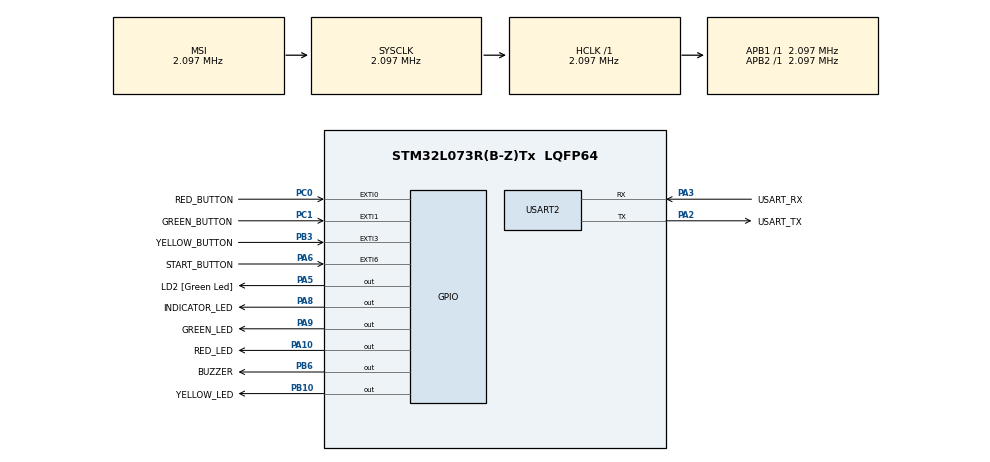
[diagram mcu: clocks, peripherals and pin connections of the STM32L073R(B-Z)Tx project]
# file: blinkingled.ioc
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Mcu.Family=STM32L0
Mcu.Name=STM32L073R(B-Z)Tx
Mcu.Package=LQFP64
NVIC.EXTI0_1_IRQn=true\:0\:0\:false\:false\:true\:true\:true\:true
NVIC.EXTI2_3_IRQn=true\:0\:0\:false\:false\:true\:true\:true\:true
NVIC.EXTI4_15_IRQn=true\:0\:0\:false\:false\:true\:true\:true\:true
PA10.GPIO_Label=RED_LED
PA10.Signal=GPIO_Output
PA13.GPIO_Label=TMS
PA13.Mode=Serial_Wire
PA13.Signal=SYS_SWDIO
PA14.GPIO_Label=TCK
PA14.Mode=Serial_Wire
PA14.Signal=SYS_SWCLK
PA2.GPIO_Label=USART_TX
PA2.Mode=Asynchronous
PA2.Signal=USART2_TX
PA3.GPIO_Label=USART_RX
PA3.Mode=Asynchronous
PA3.Signal=USART2_RX
PA5.GPIO_Label=LD2 [Green Led]
PA5.Signal=GPIO_Output
PA6.GPIO_Label=START_BUTTON
PA6.GPIO_ModeDefaultEXTI=GPIO_MODE_IT_FALLING
PA6.GPIO_PuPd=GPIO_PULLUP
PA6.Signal=GPXTI6
PA8.GPIO_Label=INDICATOR_LED
PA8.Signal=GPIO_Output
PA9.GPIO_Label=GREEN_LED
PA9.Signal=GPIO_Output
PB10.GPIO_Label=YELLOW_LED
PB10.Signal=GPIO_Output
PB3.GPIO_Label=YELLOW_BUTTON
PB3.GPIO_ModeDefaultEXTI=GPIO_MODE_IT_FALLING
PB3.GPIO_PuPd=GPIO_PULLUP
PB3.Signal=GPXTI3
PB6.GPIO_Label=BUZZER
PB6.PinState=GPIO_PIN_RESET
PB6.Signal=GPIO_Output
PC0.GPIO_Label=RED_BUTTON
PC0.GPIO_ModeDefaultEXTI=GPIO_MODE_IT_FALLING
PC0.GPIO_PuPd=GPIO_PULLUP
PC0.Signal=GPXTI0
PC1.GPIO_Label=GREEN_BUTTON
PC1.GPIO_ModeDefaultEXTI=GPIO_MODE_IT_FALLING
PC1.GPIO_PuPd=GPIO_PULLUP
PC1.Signal=GPXTI1
PC14-OSC32_IN.Mode=LSE-External-Oscillator
PC14-OSC32_IN.Signal=RCC_OSC32_IN
PC15-OSC32_OUT.Mode=LSE-External-Oscillator
PC15-OSC32_OUT.Signal=RCC_OSC32_OUT
PH0-OSC_IN.GPIO_Label=MCO
PH0-OSC_IN.Mode=HSE-External-Clock-Source
PH0-OSC_IN.Signal=RCC_OSC_IN
ProjectManager.HeapSize=0x200
ProjectManager.StackSize=0x400
ProjectManager.TargetToolchain=STM32CubeIDE
RCC.AHBFreq_Value=2097000
RCC.APB1Freq_Value=2097000
RCC.APB1TimFreq_Value=2097000
RCC.APB2Freq_Value=2097000
RCC.APB2TimFreq_Value=2097000
RCC.HSE_VALUE=8000000
RCC.HSI16_VALUE=16000000
RCC.HSI48_VALUE=48000000
RCC.HSI_VALUE=16000000
RCC.MSI_VALUE=2097000
RCC.SYSCLKFreq_VALUE=2097000
RCC.VCOOutputFreq_Value=48000000
USART2.VirtualMode-Asynchronous=VM_ASYNC
board=NUCLEO-L073RZ

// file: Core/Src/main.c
/* USER CODE BEGIN Header */
/**
  ******************************************************************************
  * @file           : main.c
  * @brief          : Main program body
  ******************************************************************************
  * @attention
  *
  * Copyright (c) 2025 STMicroelectronics.
  * All rights reserved.
  *
  * This software is licensed under terms that can be found in the LICENSE file
  * in the root directory of this software component.
  * If no LICENSE file comes with this software, it is provided AS-IS.
  *
  ******************************************************************************
  */
/* USER CODE END Header */
#include "main.h"

/* USER CODE BEGIN Includes */
#include <stdlib.h>
#include <stdbool.h>
/* USER CODE END Includes */

/* USER CODE BEGIN PTD */

typedef enum {
  STATE_IDLE,
  STATE_STARTUP,
  STATE_GENERATE_AND_DISPLAY_SEQUENCE,
  STATE_WAIT_FOR_PLAYER_INPUT,
  STATE_EVALUATE_SEQUENCE,
  STATE_SUCCESS_BLINK,
  STATE_FAILURE_BLINK
} GameState_t;
/* USER CODE END PTD */

/* USER CODE BEGIN PD */
#define SEQUENCE_LENGTH 4
#define DEBOUNCE_TIME_MS 200
#define LED_FEEDBACK_DURATION_MS 300
#define BUZZER_DURATION 200
/* USER CODE END PD */

UART_HandleTypeDef huart2;

/* USER CODE BEGIN PV */
// Global variables to manage the game state and logic
volatile GameState_t g_gameState = STATE_IDLE;
volatile bool g_gameRunning = false;

uint8_t g_generatedSequence[SEQUENCE_LENGTH];
uint8_t g_playerSequence[SEQUENCE_LENGTH];
volatile uint8_t g_currentPlayerInputIndex = 0;

volatile uint8_t g_ledFeedbackActive = 0; // 0 = no feedback, 1 = red LED, 2 = green LED, 3 = yellow LED
volatile uint32_t g_ledFeedbackStartTime = 0;
/* USER CODE END PV */

void SystemClock_Config(void);
static void MX_GPIO_Init(void);
static void MX_USART2_UART_Init(void);
/* USER CODE BEGIN PFP */
static void PrepareForNextInput(void);
static void EnableGameButtonInterrupts(void);
static void DisableGameButtonInterrupts(void);
static void EnableStartButtonInterrupt(void);
static void DisableStartButtonInterrupt(void);
static void BuzzerBeep(uint32_t duration);
static void DisplaySequence(uint8_t ledValue, uint32_t onDuration, uint32_t offDuration);
/* USER CODE END PFP */

/* USER CODE BEGIN 0 */
//EXTI0_1_IRQn handler for RED and GREEN buttons
//EXTI2_3_IRQn handler for YELLOW button
//EXTI4_15_IRQn handler for START button

static void EnableGameButtonInterrupts(void)
{
    __HAL_GPIO_EXTI_CLEAR_IT(RED_BUTTON_Pin);
    __HAL_GPIO_EXTI_CLEAR_IT(GREEN_BUTTON_Pin);
    __HAL_GPIO_EXTI_CLEAR_IT(YELLOW_BUTTON_Pin);
    HAL_NVIC_EnableIRQ(EXTI0_1_IRQn);
    HAL_NVIC_EnableIRQ(EXTI2_3_IRQn);
}

static void DisableGameButtonInterrupts(void)
{
    HAL_NVIC_DisableIRQ(EXTI0_1_IRQn);
    HAL_NVIC_DisableIRQ(EXTI2_3_IRQn);
}

static void EnableStartButtonInterrupt(void)
{
    __HAL_GPIO_EXTI_CLEAR_IT(START_BUTTON_Pin);
    HAL_NVIC_EnableIRQ(EXTI4_15_IRQn);
}

static void DisableStartButtonInterrupt(void)
{
    HAL_NVIC_DisableIRQ(EXTI4_15_IRQn);
}

static void PrepareForNextInput(void)
{
    if (g_currentPlayerInputIndex < SEQUENCE_LENGTH)
    {
        EnableGameButtonInterrupts();
    }
}

//Buzzer function to beep for a specified duration
static void BuzzerBeep(uint32_t duration)
{
	for (int i = 0; i < 5; i++)
	{
		HAL_GPIO_WritePin(BUZZER_GPIO_Port, BUZZER_Pin, GPIO_PIN_SET);
		HAL_Delay(duration);
		HAL_GPIO_WritePin(BUZZER_GPIO_Port, BUZZER_Pin, GPIO_PIN_RESET);
		HAL_Delay(duration);
	}
}

static void DisplaySequence(uint8_t ledValue, uint32_t onDuration, uint32_t offDuration)
{
  switch (ledValue)
  {
    case 0: //red led
      HAL_GPIO_WritePin(RED_LED_GPIO_Port, RED_LED_Pin, GPIO_PIN_SET);
      HAL_Delay(onDuration);
      HAL_GPIO_WritePin(RED_LED_GPIO_Port, RED_LED_Pin, GPIO_PIN_RESET);
      HAL_Delay(offDuration);
      break;
    case 1: //green led
      HAL_GPIO_WritePin(GREEN_LED_GPIO_Port, GREEN_LED_Pin, GPIO_PIN_SET);
      HAL_Delay(onDuration);
      HAL_GPIO_WritePin(GREEN_LED_GPIO_Port, GREEN_LED_Pin, GPIO_PIN_RESET);
      HAL_Delay(offDuration);
      break;
    case 2: //yellow led
      HAL_GPIO_WritePin(YELLOW_LED_GPIO_Port, YELLOW_LED_Pin, GPIO_PIN_SET);
      HAL_Delay(onDuration);
      HAL_GPIO_WritePin(YELLOW_LED_GPIO_Port, YELLOW_LED_Pin, GPIO_PIN_RESET);
      HAL_Delay(offDuration);
      break;
  }
}
/* USER CODE END 0 */

int main(void)
{

  /* MCU Configuration--------------------------------------------------------*/

  /* Reset of all peripherals, Initializes the Flash interface and the Systick. */
  HAL_Init();

  /* Configure the system clock */
  SystemClock_Config();

  /* Initialize all configured peripherals */
  MX_GPIO_Init();
  MX_USART2_UART_Init();
  /* USER CODE BEGIN 2 */
  srand(HAL_GetTick());

  HAL_GPIO_WritePin(RED_LED_GPIO_Port, RED_LED_Pin, GPIO_PIN_RESET);
  HAL_GPIO_WritePin(GREEN_LED_GPIO_Port, GREEN_LED_Pin, GPIO_PIN_RESET);
  HAL_GPIO_WritePin(YELLOW_LED_GPIO_Port, YELLOW_LED_Pin, GPIO_PIN_RESET);
  HAL_GPIO_WritePin(BUZZER_GPIO_Port, BUZZER_Pin, GPIO_PIN_RESET);
  /* USER CODE END 2 */

  /* Infinite loop */
  while (1)
  {

    /* USER CODE BEGIN 3 */
    switch (g_gameState)
    {
      case STATE_IDLE:

        DisableGameButtonInterrupts();
        EnableStartButtonInterrupt();
        g_gameRunning = false;
        g_currentPlayerInputIndex = 0;
        for (int i = 0; i < SEQUENCE_LENGTH; i++)
        {
          g_playerSequence[i] = 0;
        }
        HAL_GPIO_WritePin(RED_LED_GPIO_Port, RED_LED_Pin, GPIO_PIN_RESET);
        HAL_GPIO_WritePin(GREEN_LED_GPIO_Port, GREEN_LED_Pin, GPIO_PIN_RESET);
        HAL_GPIO_WritePin(YELLOW_LED_GPIO_Port, YELLOW_LED_Pin, GPIO_PIN_RESET);
        break;

      case STATE_STARTUP:

        DisableGameButtonInterrupts();
        for (int i = 0; i < 3; i++)
        {
          HAL_GPIO_WritePin(RED_LED_GPIO_Port, RED_LED_Pin, GPIO_PIN_SET);
          HAL_Delay(500);
          HAL_GPIO_WritePin(RED_LED_GPIO_Port, RED_LED_Pin, GPIO_PIN_RESET);
          HAL_GPIO_WritePin(GREEN_LED_GPIO_Port, GREEN_LED_Pin, GPIO_PIN_SET);
          HAL_Delay(500);
          HAL_GPIO_WritePin(GREEN_LED_GPIO_Port, GREEN_LED_Pin, GPIO_PIN_RESET);
          HAL_GPIO_WritePin(YELLOW_LED_GPIO_Port, YELLOW_LED_Pin, GPIO_PIN_SET);
          HAL_Delay(500);
          HAL_GPIO_WritePin(YELLOW_LED_GPIO_Port, YELLOW_LED_Pin, GPIO_PIN_RESET);
        }
        HAL_Delay(1000);

        g_gameState = STATE_GENERATE_AND_DISPLAY_SEQUENCE;
        break;

      case STATE_GENERATE_AND_DISPLAY_SEQUENCE:

        DisableGameButtonInterrupts();
        g_currentPlayerInputIndex = 0;

        for (int i = 0; i < SEQUENCE_LENGTH; i++)
        {
          g_generatedSequence[i] = rand() % 3;
        }

        for (int i = 0; i < SEQUENCE_LENGTH; i++)
        {
          DisplaySequence(g_generatedSequence[i], 500, 500); // Display each LED in the sequence
        }
        HAL_Delay(2000);
        g_gameState = STATE_WAIT_FOR_PLAYER_INPUT;
        break;

      case STATE_WAIT_FOR_PLAYER_INPUT:

        PrepareForNextInput();

        if (g_ledFeedbackActive > 0 && g_currentPlayerInputIndex < SEQUENCE_LENGTH)
        {
          uint32_t currentTime = HAL_GetTick();
          if (currentTime - g_ledFeedbackStartTime >= LED_FEEDBACK_DURATION_MS)
          {

            HAL_GPIO_WritePin(RED_LED_GPIO_Port, RED_LED_Pin, GPIO_PIN_RESET);
            HAL_GPIO_WritePin(GREEN_LED_GPIO_Port, GREEN_LED_Pin, GPIO_PIN_RESET);
            HAL_GPIO_WritePin(YELLOW_LED_GPIO_Port, YELLOW_LED_Pin, GPIO_PIN_RESET);
            g_ledFeedbackActive = 0;
          }
        }
        break;

      case STATE_EVALUATE_SEQUENCE:

        DisableGameButtonInterrupts();

        if (g_ledFeedbackActive > 0)
        {
            uint32_t currentTimeEval = HAL_GetTick();
            if (currentTimeEval - g_ledFeedbackStartTime < LED_FEEDBACK_DURATION_MS)
            {
                HAL_Delay(LED_FEEDBACK_DURATION_MS - (currentTimeEval - g_ledFeedbackStartTime));
            }
        }

        HAL_GPIO_WritePin(RED_LED_GPIO_Port, RED_LED_Pin, GPIO_PIN_RESET);
        HAL_GPIO_WritePin(GREEN_LED_GPIO_Port, GREEN_LED_Pin, GPIO_PIN_RESET);
        HAL_GPIO_WritePin(YELLOW_LED_GPIO_Port, YELLOW_LED_Pin, GPIO_PIN_RESET);
        g_ledFeedbackActive = 0;

        _Bool sequenceMatch = 1;
        for (int i = 0; i < SEQUENCE_LENGTH; i++)
        {
          if (g_generatedSequence[i] != g_playerSequence[i])
          {
            sequenceMatch = 0;
            break;
          }
        }

        HAL_Delay(1000);
        if (sequenceMatch) { g_gameState = STATE_SUCCESS_BLINK; }
        else { g_gameState = STATE_FAILURE_BLINK; }
        break;

      case STATE_SUCCESS_BLINK:

    	EnableStartButtonInterrupt();
        for (int i = 0; i < 2; i++)
        {
          HAL_GPIO_WritePin(INDICATOR_LED_GPIO_Port, INDICATOR_LED_Pin, GPIO_PIN_SET);
          HAL_Delay(250);
          HAL_GPIO_WritePin(INDICATOR_LED_GPIO_Port, INDICATOR_LED_Pin, GPIO_PIN_RESET);
          HAL_Delay(250);
        }
        HAL_Delay(1000);
        g_gameState = STATE_GENERATE_AND_DISPLAY_SEQUENCE;
        break;

      case STATE_FAILURE_BLINK:

    	  BuzzerBeep(BUZZER_DURATION);
        for (int i = 0; i < 3; i++)
        {
          HAL_GPIO_WritePin(INDICATOR_LED_GPIO_Port, INDICATOR_LED_Pin, GPIO_PIN_SET);
          HAL_Delay(250);
          HAL_GPIO_WritePin(INDICATOR_LED_GPIO_Port, INDICATOR_LED_Pin, GPIO_PIN_RESET);
          HAL_Delay(250);
        }
        HAL_Delay(1000);
        g_gameState = STATE_GENERATE_AND_DISPLAY_SEQUENCE;
        break;
    }
  }
  /* USER CODE END 3 */
}

void SystemClock_Config(void)
{
  RCC_OscInitTypeDef RCC_OscInitStruct = {0};
  RCC_ClkInitTypeDef RCC_ClkInitStruct = {0};
  RCC_PeriphCLKInitTypeDef PeriphClkInit = {0};

  /** Configure the main internal regulator output voltage
  */
  __HAL_PWR_VOLTAGESCALING_CONFIG(PWR_REGULATOR_VOLTAGE_SCALE1);

  /** Initializes the RCC Oscillators according to the specified parameters
  * in the RCC_OscInitTypeDef structure.
  */
  RCC_OscInitStruct.OscillatorType = RCC_OSCILLATORTYPE_MSI;
  RCC_OscInitStruct.MSIState = RCC_MSI_ON;
  RCC_OscInitStruct.MSICalibrationValue = 0;
  RCC_OscInitStruct.MSIClockRange = RCC_MSIRANGE_5;
  RCC_OscInitStruct.PLL.PLLState = RCC_PLL_NONE;
  if (HAL_RCC_OscConfig(&RCC_OscInitStruct) != HAL_OK)
  {
    Error_Handler();
  }

  /** Initializes the CPU, AHB and APB buses clocks
  */
  RCC_ClkInitStruct.ClockType = RCC_CLOCKTYPE_HCLK|RCC_CLOCKTYPE_SYSCLK
                              |RCC_CLOCKTYPE_PCLK1|RCC_CLOCKTYPE_PCLK2;
  RCC_ClkInitStruct.SYSCLKSource = RCC_SYSCLKSOURCE_MSI;
  RCC_ClkInitStruct.AHBCLKDivider = RCC_SYSCLK_DIV1;
  RCC_ClkInitStruct.APB1CLKDivider = RCC_HCLK_DIV1;
  RCC_ClkInitStruct.APB2CLKDivider = RCC_HCLK_DIV1;

  if (HAL_RCC_ClockConfig(&RCC_ClkInitStruct, FLASH_LATENCY_0) != HAL_OK)
  {
    Error_Handler();
  }
  PeriphClkInit.PeriphClockSelection = RCC_PERIPHCLK_USART2;
  PeriphClkInit.Usart2ClockSelection = RCC_USART2CLKSOURCE_PCLK1;
  if (HAL_RCCEx_PeriphCLKConfig(&PeriphClkInit) != HAL_OK)
  {
    Error_Handler();
  }
}

static void MX_USART2_UART_Init(void)
{

  huart2.Instance = USART2;
  huart2.Init.BaudRate = 115200;
  huart2.Init.WordLength = UART_WORDLENGTH_8B;
  huart2.Init.StopBits = UART_STOPBITS_1;
  huart2.Init.Parity = UART_PARITY_NONE;
  huart2.Init.Mode = UART_MODE_TX_RX;
  huart2.Init.HwFlowCtl = UART_HWCONTROL_NONE;
  huart2.Init.OverSampling = UART_OVERSAMPLING_16;
  huart2.Init.OneBitSampling = UART_ONE_BIT_SAMPLE_DISABLE;
  huart2.AdvancedInit.AdvFeatureInit = UART_ADVFEATURE_NO_INIT;
  if (HAL_UART_Init(&huart2) != HAL_OK)
  {
    Error_Handler();
  }

}

static void MX_GPIO_Init(void)
{
  GPIO_InitTypeDef GPIO_InitStruct = {0};

  /* GPIO Ports Clock Enable */
  __HAL_RCC_GPIOC_CLK_ENABLE();
  __HAL_RCC_GPIOH_CLK_ENABLE();
  __HAL_RCC_GPIOA_CLK_ENABLE();
  __HAL_RCC_GPIOB_CLK_ENABLE();

  /*Configure GPIO pin Output Level */
  HAL_GPIO_WritePin(GPIOA, LD2_Pin|INDICATOR_LED_Pin|GREEN_LED_Pin|RED_LED_Pin, GPIO_PIN_RESET);

  /*Configure GPIO pin Output Level */
  HAL_GPIO_WritePin(GPIOB, YELLOW_LED_Pin|BUZZER_Pin, GPIO_PIN_RESET);

  /*Configure GPIO pins : RED_BUTTON_Pin GREEN_BUTTON_Pin */
  GPIO_InitStruct.Pin = RED_BUTTON_Pin|GREEN_BUTTON_Pin;
  GPIO_InitStruct.Mode = GPIO_MODE_IT_FALLING;
  GPIO_InitStruct.Pull = GPIO_PULLUP;
  HAL_GPIO_Init(GPIOC, &GPIO_InitStruct);

  /*Configure GPIO pins : LD2_Pin INDICATOR_LED_Pin GREEN_LED_Pin RED_LED_Pin */
  GPIO_InitStruct.Pin = LD2_Pin|INDICATOR_LED_Pin|GREEN_LED_Pin|RED_LED_Pin;
  GPIO_InitStruct.Mode = GPIO_MODE_OUTPUT_PP;
  GPIO_InitStruct.Pull = GPIO_NOPULL;
  GPIO_InitStruct.Speed = GPIO_SPEED_FREQ_LOW;
  HAL_GPIO_Init(GPIOA, &GPIO_InitStruct);

  /*Configure GPIO pin : START_BUTTON_Pin */
  GPIO_InitStruct.Pin = START_BUTTON_Pin;
  GPIO_InitStruct.Mode = GPIO_MODE_IT_FALLING;
  GPIO_InitStruct.Pull = GPIO_PULLUP;
  HAL_GPIO_Init(START_BUTTON_GPIO_Port, &GPIO_InitStruct);

  /*Configure GPIO pins : YELLOW_LED_Pin BUZZER_Pin */
  GPIO_InitStruct.Pin = YELLOW_LED_Pin|BUZZER_Pin;
  GPIO_InitStruct.Mode = GPIO_MODE_OUTPUT_PP;
  GPIO_InitStruct.Pull = GPIO_NOPULL;
  GPIO_InitStruct.Speed = GPIO_SPEED_FREQ_LOW;
  HAL_GPIO_Init(GPIOB, &GPIO_InitStruct);

  /*Configure GPIO pin : YELLOW_BUTTON_Pin */
  GPIO_InitStruct.Pin = YELLOW_BUTTON_Pin;
  GPIO_InitStruct.Mode = GPIO_MODE_IT_FALLING;
  GPIO_InitStruct.Pull = GPIO_PULLUP;
  HAL_GPIO_Init(YELLOW_BUTTON_GPIO_Port, &GPIO_InitStruct);

  /* EXTI interrupt init*/
  HAL_NVIC_SetPriority(EXTI0_1_IRQn, 0, 0);
  HAL_NVIC_EnableIRQ(EXTI0_1_IRQn);

  HAL_NVIC_SetPriority(EXTI2_3_IRQn, 0, 0);
  HAL_NVIC_EnableIRQ(EXTI2_3_IRQn);

  HAL_NVIC_SetPriority(EXTI4_15_IRQn, 0, 0);
  HAL_NVIC_EnableIRQ(EXTI4_15_IRQn);

}

/* USER CODE BEGIN 4 */
void HAL_GPIO_EXTI_Callback(uint16_t GPIO_Pin)
{
  static uint32_t lastButtonPressTime = 0;
  static uint32_t startButtonPressTime = 0;
  uint32_t currentTime = HAL_GetTick();

  if (currentTime - lastButtonPressTime < DEBOUNCE_TIME_MS)
  {
    __HAL_GPIO_EXTI_CLEAR_IT(GPIO_Pin);
    return;
  }

  if (currentTime - startButtonPressTime < DEBOUNCE_TIME_MS)
  {
    __HAL_GPIO_EXTI_CLEAR_IT(GPIO_Pin);
    return;
  }

  if (g_gameState == STATE_WAIT_FOR_PLAYER_INPUT && g_currentPlayerInputIndex < SEQUENCE_LENGTH)
  {
    DisableGameButtonInterrupts();

    lastButtonPressTime = currentTime;

    if (GPIO_Pin == RED_BUTTON_Pin)
    {
      g_playerSequence[g_currentPlayerInputIndex] = 0;
      HAL_GPIO_WritePin(RED_LED_GPIO_Port, RED_LED_Pin, GPIO_PIN_SET);
      g_ledFeedbackActive = 1;
      g_ledFeedbackStartTime = currentTime;
    }
    else if (GPIO_Pin == GREEN_BUTTON_Pin)
    {
      g_playerSequence[g_currentPlayerInputIndex] = 1;
      HAL_GPIO_WritePin(GREEN_LED_GPIO_Port, GREEN_LED_Pin, GPIO_PIN_SET);
      g_ledFeedbackActive = 2;
      g_ledFeedbackStartTime = currentTime;
    }
    else if (GPIO_Pin == YELLOW_BUTTON_Pin)
    {
      g_playerSequence[g_currentPlayerInputIndex] = 2;
      HAL_GPIO_WritePin(YELLOW_LED_GPIO_Port, YELLOW_LED_Pin, GPIO_PIN_SET);
      g_ledFeedbackActive = 3;
      g_ledFeedbackStartTime = currentTime;
    }
    else
    {
      __HAL_GPIO_EXTI_CLEAR_IT(GPIO_Pin);
      return;
    }

    __HAL_GPIO_EXTI_CLEAR_IT(GPIO_Pin);

    g_currentPlayerInputIndex++;

    if ( g_currentPlayerInputIndex >= SEQUENCE_LENGTH )
    {
      g_gameState = STATE_EVALUATE_SEQUENCE;
    }
  }
  else if ( g_gameState == STATE_IDLE )
  {
    DisableStartButtonInterrupt();

    if (GPIO_Pin == RED_BUTTON_Pin || GPIO_Pin == GREEN_BUTTON_Pin || GPIO_Pin == YELLOW_BUTTON_Pin)
    {
      __HAL_GPIO_EXTI_CLEAR_IT(GPIO_Pin);
      return;
    }
    else if (GPIO_Pin == START_BUTTON_Pin)
    {
      startButtonPressTime = currentTime;
      if (!g_gameRunning)
      {
        g_gameRunning = true;
        g_gameState = STATE_STARTUP;
        g_currentPlayerInputIndex = 0;
        for (int i = 0; i < SEQUENCE_LENGTH; i++)
        {
          g_playerSequence[i] = 0;
        }
      }
      else
      {
        g_gameRunning = false;
        g_gameState = STATE_IDLE;
      }
    }
    __HAL_GPIO_EXTI_CLEAR_IT(GPIO_Pin);
  }
  else
  {
    __HAL_GPIO_EXTI_CLEAR_IT(GPIO_Pin);
  }
}
/* USER CODE END 4 */

void Error_Handler(void)
{
  __disable_irq();
  while (1)
  {
  }
}
